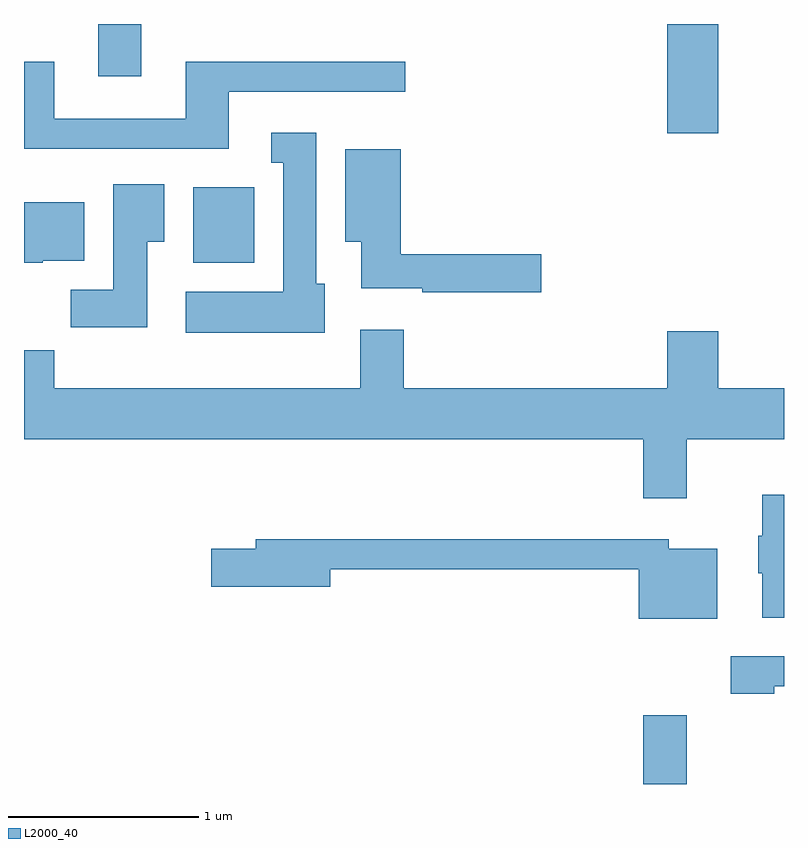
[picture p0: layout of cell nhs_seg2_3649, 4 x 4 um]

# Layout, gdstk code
import gdstk
lib = gdstk.Library(unit=1e-6, precision=1e-09)
def R(c, l, rs):  # rectangles x0, y0, x1, y1
    for r in rs: c.add(gdstk.rectangle(r[:2], r[2:], *l))
def P(c, l, *ps):  # polygons
    for p in ps: c.add(gdstk.Polygon(p, *l))
L2000_40 = (2000, 40)

nhs_seg2_3649 = lib.new_cell('nhs_seg2_3649')
R(nhs_seg2_3649, L2000_40, [(294.871,1079.802,295.099,1080.164), (292.501,1082.546,292.824,1082.944), (294.996,1083.226,295.264,1083.802), (292.001,1083.526,292.229,1083.802)])
P(nhs_seg2_3649, L2000_40, [(292.689,1083.446),(293.618,1083.446),(293.618,1083.604),(292.461,1083.604),(292.461,1083.304),(291.769,1083.304),(291.769,1083.604),(291.611,1083.604),(291.611,1083.146),(292.689,1083.146)],
  [(293.194,1082.434),(293.149,1082.434),(293.149,1083.229),(292.913,1083.229),(292.913,1083.071),(292.976,1083.071),(292.976,1082.394),(292.461,1082.394),(292.461,1082.176),(293.194,1082.176)],
  [(294.334,1082.589),(293.594,1082.589),(293.594,1083.144),(293.301,1083.144),(293.301,1082.656),(293.386,1082.656),(293.386,1082.411),(293.706,1082.411),(293.706,1082.391),(294.334,1082.391)],
  [(292.259,1082.656),(292.349,1082.656),(292.349,1082.959),(292.081,1082.959),(292.081,1082.404),(291.856,1082.404),(291.856,1082.206),(292.259,1082.206)],
  [(291.71,1082.556),(291.929,1082.556),(291.929,1082.864),(291.611,1082.864),(291.611,1082.546),(291.71,1082.546)],
  [(295.099,1081.616),(295.611,1081.616),(295.611,1081.884),(295.264,1081.884),(295.264,1082.184),(294.996,1082.184),(294.996,1081.884),(293.609,1081.884),(293.609,1082.194),(293.381,1082.194),(293.381,1081.884),(291.769,1081.884),(291.769,1082.084),(291.611,1082.084),(291.611,1081.616),(294.871,1081.616),(294.871,1081.306),(295.099,1081.306)],
  [(295.611,1081.324),(295.496,1081.324),(295.496,1081.109),(295.476,1081.109),(295.476,1080.911),(295.496,1080.911),(295.496,1080.676),(295.611,1080.676)],
  [(295.259,1081.039),(295.004,1081.039),(295.004,1081.089),(292.831,1081.089),(292.831,1081.039),(292.596,1081.039),(292.596,1080.841),(293.224,1080.841),(293.224,1080.931),(294.846,1080.931),(294.846,1080.671),(295.259,1080.671)],
  [(295.559,1080.316),(295.611,1080.316),(295.611,1080.474),(295.331,1080.474),(295.331,1080.276),(295.559,1080.276)])

lib.write_gds('nhs_seg2_3649.gds')
